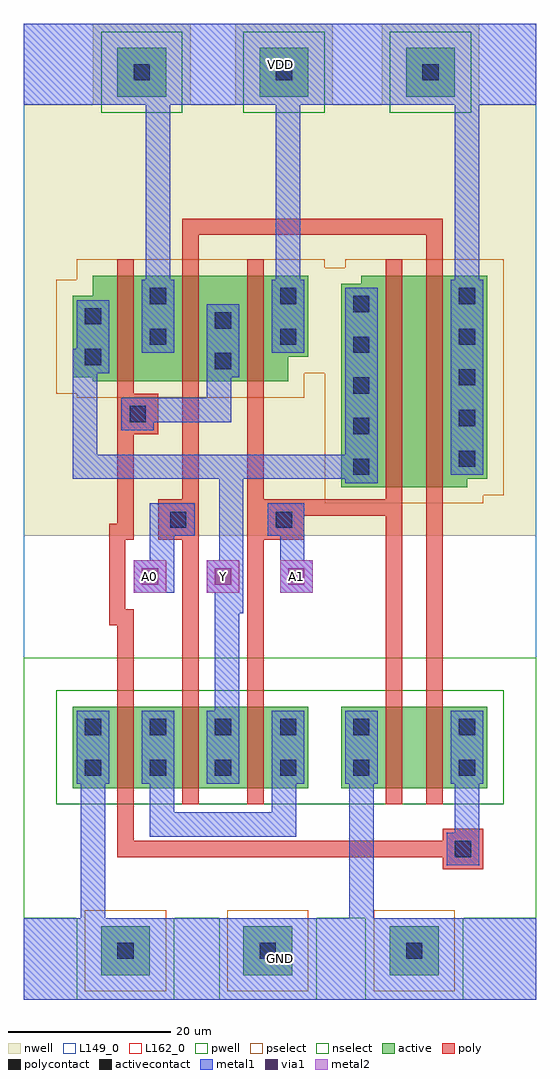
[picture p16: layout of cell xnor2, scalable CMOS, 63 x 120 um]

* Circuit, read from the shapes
.subckt xnor2 A0 A1 GND VDD Y
M1 n1 n2 GND GND nfet w=10u l=2u
M2 Y A0 n1 GND nfet w=10u l=2u
M3 n1 A1 Y GND nfet w=10u l=2u
M4 n3 A1 GND GND nfet w=10u l=2u
M5 n2 A0 n3 GND nfet w=10u l=2u
M6 VDD n2 Y VDD pfet w=13u l=2u
M7 n2 A0 VDD VDD pfet w=13u l=2u
M8 VDD A1 n2 VDD pfet w=13u l=2u
M9 n4 A1 Y VDD pfet w=26u l=2u
M10 VDD A0 n4 VDD pfet w=26u l=2u
.ends

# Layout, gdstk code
from math import pi, radians
import gdstk
lib = gdstk.Library(unit=1e-6, precision=1e-09)
def R(c, l, rs):  # rectangles x0, y0, x1, y1
    for r in rs: c.add(gdstk.rectangle(r[:2], r[2:], *l))
def A(c, l, x, y, w, h, nx, ny, dx, dy):  # array of equal rectangles
    R(c, l, [(x+i*dx, y+j*dy, x+i*dx+w, y+j*dy+h) for i in range(nx) for j in range(ny)])
def P(c, l, *ps):  # polygons
    for p in ps: c.add(gdstk.Polygon(p, *l))
pwell = (41, 0)
nwell = (42, 0)
active = (43, 0)
pselect = (44, 0)
nselect = (45, 0)
poly = (46, 0)
polycontact = (47, 0)
activecontact = (48, 0)
metal1 = (49, 0)
via1 = (50, 0)
metal2 = (51, 0)
L149_0 = (149, 0)
L162_0 = (162, 0)

pwell_contact = lib.new_cell('pwell_contact')
R(pwell_contact, pwell, [(-6,-6,6,5)])
R(pwell_contact, active, [(-3,-3,3,3)])
R(pwell_contact, pselect, [(-5,-5,5,5)])
R(pwell_contact, activecontact, [(-1,-1,1,1)])

nwell_contact = lib.new_cell('nwell_contact')
R(nwell_contact, nwell, [(-6,-5,6,6)])
R(nwell_contact, active, [(-3,-3,3,3)])
R(nwell_contact, nselect, [(-5,-5,5,5)])
R(nwell_contact, activecontact, [(-1,-1,1,1)])

via = lib.new_cell('via')
R(via, metal1, [(-2,-2,2,2)])
R(via, via1, [(-1,-1,1,1)])
R(via, metal2, [(-2,-2,2,2)])

xnor2 = lib.new_cell('xnor2')
R(xnor2, pwell, [(0,10,63,20), (0,10,63,42), (0,20,41,42), (33,20,63,42)])
R(xnor2, nwell, [(0,57,63,110), (0,95,63,110)])
P(xnor2, nwell, [(60.5,57),(60.5,58),(63,58),(63,95),(35.5,95),(35.5,94),(33,94),(33,57)],
  [(2.5,70),(2.5,70.5),(0,70.5),(0,92.5),(2.5,92.5),(2.5,95),(41,95),(41,73),(38.5,73),(38.5,70)])
R(xnor2, active, [(6,26,35,36), (39,26,57,36)])
P(xnor2, active, [(54.5,63),(54.5,64),(57,64),(57,89),(41.5,89),(41.5,88),(39,88),(39,63)],
  [(8.5,76),(8.5,76.5),(6,76.5),(6,86.5),(8.5,86.5),(8.5,89),(35,89),(35,79),(32.5,79),(32.5,76)])
P(xnor2, pselect, [(56.5,61),(56.5,62),(59,62),(59,91),(39.5,91),(39.5,90),(37,90),(37,61)],
  [(6.5,74),(6.5,74.5),(4,74.5),(4,88.5),(6.5,88.5),(6.5,91),(37,91),(37,77),(34.5,77),(34.5,74)])
R(xnor2, nselect, [(4,24,37,38), (37,24,59,38)])
A(xnor2, poly, 11.5, 24, 2, 2, 3, 2, 8, 12)
A(xnor2, poly, 11.5, 26, 2, 10, 3, 1, 8, 0)
A(xnor2, poly, 11.5, 74, 2, 2, 3, 2, 8, 15)
A(xnor2, poly, 11.5, 76, 2, 13, 3, 1, 8, 0)
R(xnor2, poly, [(51.5,16,56.5,21), (44.5,24,46.5,26), (49.5,24,51.5,26), (44.5,26,46.5,36), (49.5,26,51.5,36), (44.5,36,46.5,38), (49.5,36,51.5,38), (16.5,56.5,21.5,61.5), (29.5,56.5,34.5,61.5), (44.5,61,46.5,63), (49.5,61,51.5,63), (44.5,63,46.5,89), (49.5,63,51.5,89), (11.5,69.5,16.5,74.5), (44.5,89,46.5,91), (49.5,89,51.5,91)])
R(xnor2, polycontact, [(53,17.5,55,19.5), (18,58,20,60), (31,58,33,60), (13,71,15,73)])
A(xnor2, activecontact, 7.5, 27.5, 2, 2, 4, 2, 8, 5)
A(xnor2, activecontact, 40.5, 64.5, 2, 2, 1, 5, 0, 5)
A(xnor2, activecontact, 53.5, 65.5, 2, 2, 1, 5, 0, 5)
R(xnor2, activecontact, [(40.5,27.5,42.5,29.5), (53.5,27.5,55.5,29.5), (40.5,32.5,42.5,34.5), (53.5,32.5,55.5,34.5), (23.5,77.5,25.5,79.5), (7.5,78,9.5,80), (15.5,80.5,17.5,82.5), (31.5,80.5,33.5,82.5), (23.5,82.5,25.5,84.5), (7.5,83,9.5,85), (15.5,85.5,17.5,87.5), (31.5,85.5,33.5,87.5)])
A(xnor2, metal1, 6.5, 26.5, 4, 9, 4, 1, 8, 0)
R(xnor2, metal1, [(0,0,63,10), (0,0,63,10), (52,16.5,56,20.5), (39.5,26.5,43.5,35.5), (52.5,26.5,56.5,35.5), (17,57,21,61), (30,57,34,61), (39.5,63.5,43.5,87.5), (52.5,64.5,56.5,88.5), (12,70,16,74), (22.5,76.5,26.5,85.5), (6.5,77,10.5,86), (14.5,79.5,18.5,88.5), (30.5,79.5,34.5,88.5), (0,110,63,120), (0,110,63,120)])
A(xnor2, metal2, 13.5, 50, 4, 4, 3, 1, 9, 0)
R(xnor2, L149_0, [(0,0,63,10), (0,0,63,10), (0,0,63,120), (52,16.5,56,20.5), (17,57,21,61), (30,57,34,61), (12,70,16,74), (0,110,63,120), (0,110,63,120)])
A(xnor2, L162_0, 13.5, 50, 4, 4, 3, 1, 9, 0)
xnor2.add(gdstk.FlexPath([(17,61),(17,50)], 3, ends="flush", simple_path=True, layer=149, datatype=0))  # L149_0
xnor2.add(gdstk.FlexPath([(17,26.5),(17,21.5),(32,21.5),(32,26.5)], 3, ends="flush", simple_path=True, layer=149, datatype=0))  # L149_0
xnor2.add(gdstk.FlexPath([(41.5,26.5),(41.5,10)], 3, ends="flush", simple_path=True, layer=149, datatype=0))  # L149_0
xnor2.add(gdstk.FlexPath([(16.5,88.5),(16.5,110)], 3, ends="flush", simple_path=True, layer=149, datatype=0))  # L149_0
xnor2.add(gdstk.FlexPath([(54.5,88.5),(54.5,110)], 3, ends="flush", simple_path=True, layer=149, datatype=0))  # L149_0
xnor2.add(gdstk.FlexPath([(54.5,26.5),(54.5,20.5)], 3, ends="flush", simple_path=True, layer=149, datatype=0))  # L149_0
xnor2.add(gdstk.FlexPath([(32.5,88.5),(32.5,110)], 3, ends="flush", simple_path=True, layer=149, datatype=0))  # L149_0
xnor2.add(gdstk.FlexPath([(8.5,26.5),(8.5,10)], 3, ends="flush", simple_path=True, layer=149, datatype=0))  # L149_0
xnor2.add(gdstk.FlexPath([(16,72.5),(24,72.5),(24,76.5)], 3, ends="flush", simple_path=True, layer=149, datatype=0))  # L149_0
xnor2.add(gdstk.FlexPath([(25,35.5),(25,49),(25.5,49),(25.5,64)], 3, ends="flush", simple_path=True, layer=149, datatype=0))  # L149_0
xnor2.add(gdstk.FlexPath([(33,61),(33,50)], 3, ends="flush", simple_path=True, layer=149, datatype=0))  # L149_0
xnor2.add(gdstk.FlexPath([(10.5,78.5),(7.5,78.5),(7.5,65.5),(39.5,65.5)], 3, ends="flush", simple_path=True, layer=149, datatype=0))  # L149_0
xnor2.add(gdstk.FlexPath([(17,61),(17,50)], 3, ends="flush", simple_path=True, layer=49, datatype=0))  # metal1
xnor2.add(gdstk.FlexPath([(17,26.5),(17,21.5),(32,21.5),(32,26.5)], 3, ends="flush", simple_path=True, layer=49, datatype=0))  # metal1
xnor2.add(gdstk.FlexPath([(41.5,26.5),(41.5,10)], 3, ends="flush", simple_path=True, layer=49, datatype=0))  # metal1
xnor2.add(gdstk.FlexPath([(16.5,88.5),(16.5,110)], 3, ends="flush", simple_path=True, layer=49, datatype=0))  # metal1
xnor2.add(gdstk.FlexPath([(54.5,88.5),(54.5,110)], 3, ends="flush", simple_path=True, layer=49, datatype=0))  # metal1
xnor2.add(gdstk.FlexPath([(54.5,26.5),(54.5,20.5)], 3, ends="flush", simple_path=True, layer=49, datatype=0))  # metal1
xnor2.add(gdstk.FlexPath([(32.5,88.5),(32.5,110)], 3, ends="flush", simple_path=True, layer=49, datatype=0))  # metal1
xnor2.add(gdstk.FlexPath([(8.5,26.5),(8.5,10)], 3, ends="flush", simple_path=True, layer=49, datatype=0))  # metal1
xnor2.add(gdstk.FlexPath([(16,72.5),(24,72.5),(24,76.5)], 3, ends="flush", simple_path=True, layer=49, datatype=0))  # metal1
xnor2.add(gdstk.FlexPath([(25,35.5),(25,49),(25.5,49),(25.5,64)], 3, ends="flush", simple_path=True, layer=49, datatype=0))  # metal1
xnor2.add(gdstk.FlexPath([(33,61),(33,50)], 3, ends="flush", simple_path=True, layer=49, datatype=0))  # metal1
xnor2.add(gdstk.FlexPath([(10.5,78.5),(7.5,78.5),(7.5,65.5),(39.5,65.5)], 3, ends="flush", simple_path=True, layer=49, datatype=0))  # metal1
xnor2.add(gdstk.FlexPath([(50.5,61),(50.5,38)], 2, ends="flush", simple_path=True, layer=46, datatype=0))  # poly
xnor2.add(gdstk.FlexPath([(34.5,60.5),(44.5,60.5)], 2, ends="flush", simple_path=True, layer=46, datatype=0))  # poly
xnor2.add(gdstk.FlexPath([(12.5,24),(12.5,18.5),(51.5,18.5)], 2, ends="flush", simple_path=True, layer=46, datatype=0))  # poly
xnor2.add(gdstk.FlexPath([(20.5,74),(20.5,38)], 2, ends="flush", simple_path=True, layer=46, datatype=0))  # poly
xnor2.add(gdstk.FlexPath([(20.5,91),(20.5,95),(50.5,95),(50.5,91)], 2, ends="flush", simple_path=True, layer=46, datatype=0))  # poly
xnor2.add(gdstk.FlexPath([(28.5,74),(28.5,38)], 2, ends="flush", simple_path=True, layer=46, datatype=0))  # poly
xnor2.add(gdstk.FlexPath([(45.5,38),(45.5,61)], 2, ends="flush", simple_path=True, layer=46, datatype=0))  # poly
xnor2.add(gdstk.FlexPath([(12.5,74),(12.5,57.5),(11.5,57.5),(11.5,47),(12.5,47),(12.5,38)], 2, ends="flush", simple_path=True, layer=46, datatype=0))  # poly
xnor2.add(gdstk.Reference(pwell_contact, (30,6), rotation=pi, x_reflection=True))
xnor2.add(gdstk.Reference(pwell_contact, (48,6), rotation=pi, x_reflection=True))
xnor2.add(gdstk.Reference(pwell_contact, (12.5,6), rotation=pi, x_reflection=True))
xnor2.add(gdstk.Reference(nwell_contact, (32,114), rotation=pi, x_reflection=True))
xnor2.add(gdstk.Reference(nwell_contact, (50,114), rotation=pi, x_reflection=True))
xnor2.add(gdstk.Reference(nwell_contact, (14.5,114), rotation=pi, x_reflection=True))
xnor2.add(gdstk.Reference(via, (24.5,52)))
xnor2.add(gdstk.Reference(via, (33.5,52), rotation=pi, x_reflection=True))
xnor2.add(gdstk.Reference(via, (15.5,52)))
xnor2.add(gdstk.Label('A0', (15.5,52), layer=3, texttype=0))
xnor2.add(gdstk.Label('Y', (24.5,52), layer=3, texttype=0))
xnor2.add(gdstk.Label('A1', (33.5,52), layer=3, texttype=0))
xnor2.add(gdstk.Label('GND', (31.5,5), layer=2, texttype=0))
xnor2.add(gdstk.Label('VDD', (31.5,115), layer=2, texttype=0))

lib.write_gds('xnor2.gds')
